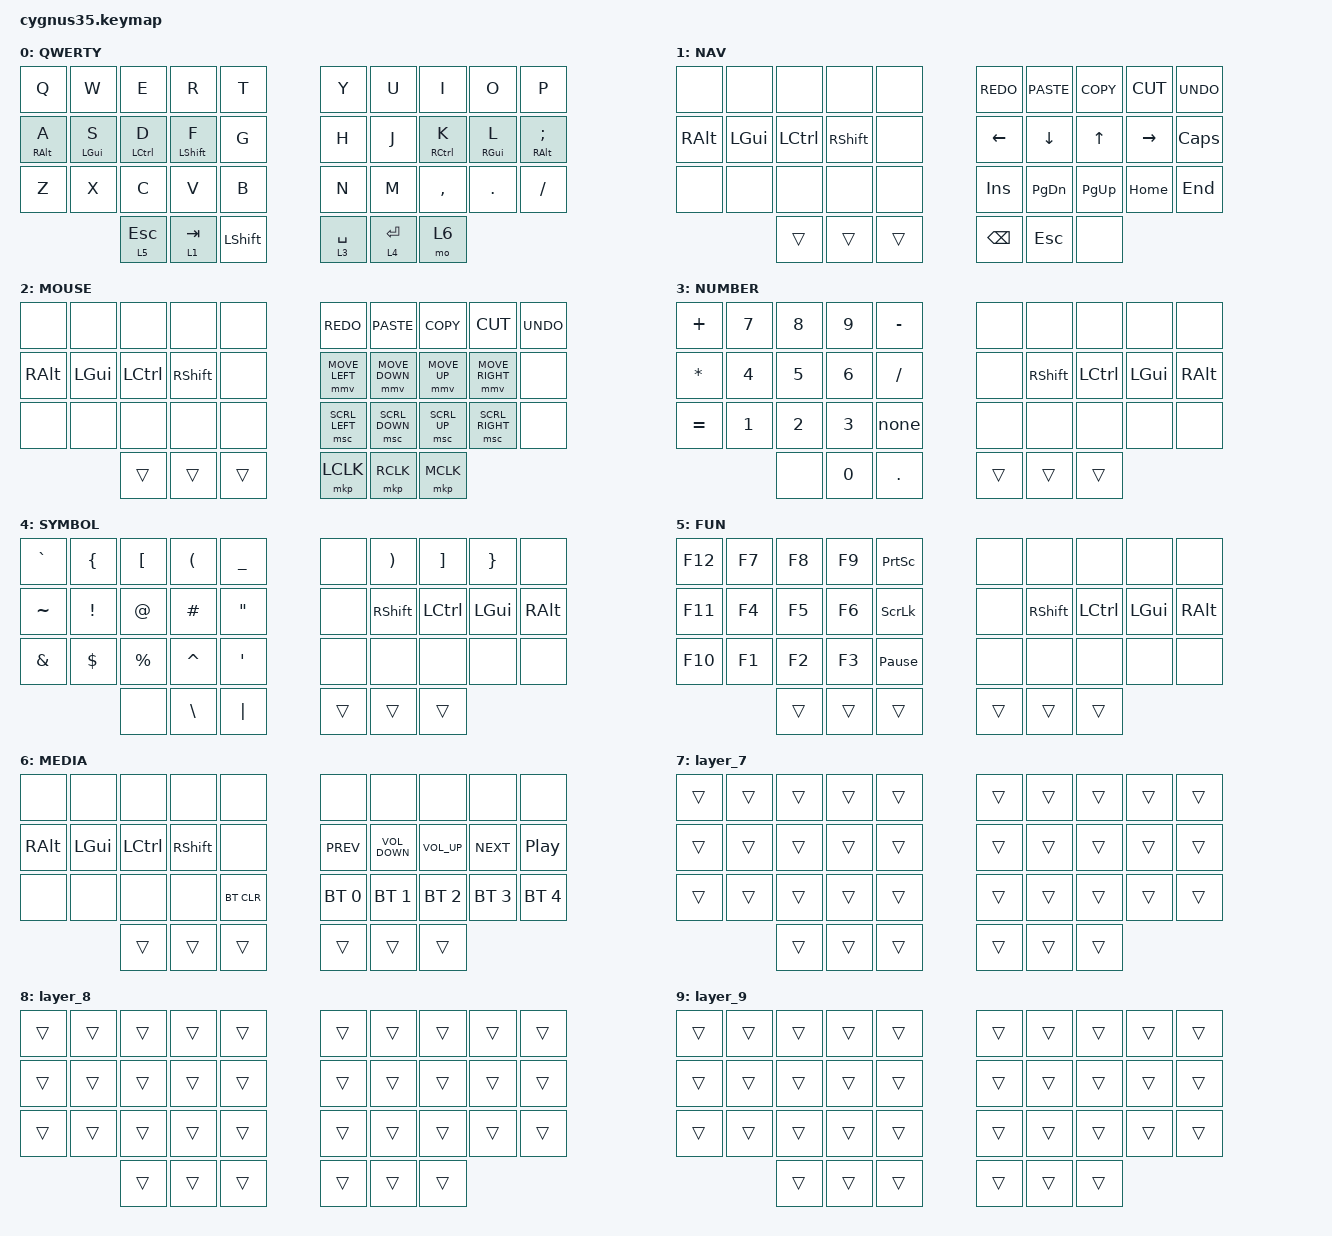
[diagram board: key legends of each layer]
#define ZMK_POINTING_DEFAULT_MOVE_VAL 1200  // 600
#define ZMK_POINTING_DEFAULT_SCRL_VAL 10    // 10

#include <behaviors.dtsi>
#include <dt-bindings/zmk/keys.h>
#include <dt-bindings/zmk/bt.h>
#include <dt-bindings/zmk/ext_power.h>
#include <dt-bindings/zmk/outputs.h>
#include <dt-bindings/zmk/pointing.h>
#include <dt-bindings/zmk/rgb.h>
#include <input/processors.dtsi>
#include <zephyr/dt-bindings/input/input-event-codes.h>

/* 
 * 鼠标输入处理器配置 
 * 直接复用了 Config 1 的优秀参数
 */
&mmv_input_listener { input-processors = <&zip_xy_scaler 2 1>; };
&msc_input_listener { input-processors = <&zip_scroll_scaler 2 1>; };

&msc {
    x-input-code = <INPUT_REL_HWHEEL>;
    y-input-code = <INPUT_REL_WHEEL>;
    time-to-max-speed-ms = <300>;
    acceleration-exponent = <0>;
};

&mmv {
    time-to-max-speed-ms = <500>;
    acceleration-exponent = <1>;
    trigger-period-ms = <16>;
};

/ {
    behaviors {
        td0: td0 {
            compatible = "zmk,behavior-tap-dance";
            display-name = "Shift/Caps Lock Tap Dance";
            #binding-cells = <0>;
            bindings = <&kp RSHFT>, <&kp CAPS>;
        };

        lt: layer_tap {
            compatible = "zmk,behavior-hold-tap";
            #binding-cells = <2>;
            flavor = "hold-preferred"; /* 根据 Config 1 保留，小键盘如果误触多可改为 balanced */
            tapping-term-ms = <200>;
            quick-tap-ms = <175>;
            bindings = <&mo>, <&kp>;
            display-name = "Layer-Tap";
            hold-while-undecided;
        };

        /* 
         * Home Row Mods 配置
         * 已重新计算 hold-trigger-key-positions 以适应 36 键布局 (Corne/Ferris等)
         * 假设布局索引: 
         * 0-9 (Top), 10-19 (Mid), 20-29 (Bot), 30-35 (Thumbs)
         */
        hml: home_row_mod_left {
            compatible = "zmk,behavior-hold-tap";
            #binding-cells = <2>;
            flavor = "balanced";
            require-prior-idle-ms = <150>;
            tapping-term-ms = <280>;
            quick-tap-ms = <175>;
            bindings = <&kp>, <&kp>;
            /* 触发键：右手区域的键位 */
            hold-trigger-key-positions = <5 6 7 8 9 15 16 17 18 19 25 26 27 28 29 33 34 35>; 
            hold-trigger-on-release;
        };

        hmr: home_row_mod_right {
            compatible = "zmk,behavior-hold-tap";
            #binding-cells = <2>;
            flavor = "balanced";
            require-prior-idle-ms = <150>;
            tapping-term-ms = <280>;
            quick-tap-ms = <175>;
            bindings = <&kp>, <&kp>;
            /* 触发键：左手区域的键位 */
            hold-trigger-key-positions = <0 1 2 3 4 10 11 12 13 14 20 21 22 23 24 30 31 32>;
            hold-trigger-on-release;
        };
    };

    combos {
        compatible = "zmk,combos";
        /* 
         * 调整了 Key Positions 以适应 36 键布局 
         * 假设 16=J, 17=K (右手中间两个键)
         */
        combo_esc {
            timeout-ms = <40>;
            key-positions = <16 17>; 
            bindings = <&kp ESC>;
            require-prior-idle-ms = <150>;
        };
        /* 
         * 假设 2=W, 3=E (左手上排) 或者 12=S, 13=D
         * 这里设置为左手 S+D (12 13) 触发 Tab (可选)
         */
        combo_tab {
            timeout-ms = <40>;
            key-positions = <12 13>;
            bindings = <&kp TAB>;
            require-prior-idle-ms = <150>;
        };
    };

    keymap {
        compatible = "zmk,keymap";

        /* 
         * Layer 0: Default
         * 整合了 Home Row Mods 和 Config 1 的拇指逻辑
         */
        default_layer {
            display-name = "QWERTY";
            bindings = <
&kp Q        &kp W        &kp E        &kp R         &kp T           &kp Y        &kp U         &kp I         &kp O        &kp P
&hml RALT A  &hml LGUI S  &hml LCTRL D &hml LSHIFT F &kp G           &kp H        &kp J &hmr RCTRL K  &hmr RGUI L  &hmr RALT SEMI
&kp Z        &kp X        &kp C        &kp V         &kp B           &kp N        &kp M         &kp COMMA     &kp DOT      &kp FSLH
                          &lt 5 ESC    &lt 1 TAB     &kp LSHIFT      &lt 3 SPACE  &lt 4 ENTER   &mo 6
            >;
        };

        /* Layer 1: Nav (Vim style + Config 1 logic) */
        nav_layer {
            display-name = "NAV";
            bindings = <
&none     &none     &none      &none      &none          &kp K_REDO  &kp K_PASTE &kp K_COPY &kp K_CUT &kp K_UNDO
&kp RALT  &kp LGUI  &kp LCTRL  &kp RSHFT  &none          &kp LEFT    &kp DOWN    &kp UP     &kp RIGHT &kp CAPS
&none     &none     &none      &none      &none          &kp INS     &kp PG_DN   &kp PG_UP  &kp HOME  &kp END
                    &trans     &trans     &trans         &kp BSPC          &kp ESC         &none
            >;
        };

        /* Layer 2: Mouse (Mapped to typical movement keys) */
        mouse_layer {
            display-name = "MOUSE";
            bindings = <
&none     &none     &none      &none      &none          &kp K_REDO      &kp K_PASTE      &kp K_COPY    &kp K_CUT       &kp K_UNDO
&kp RALT  &kp LGUI  &kp LCTRL  &kp RSHFT  &none          &mmv MOVE_LEFT  &mmv MOVE_DOWN   &mmv MOVE_UP  &mmv MOVE_RIGHT &none
&none     &none     &none      &none      &none          &msc SCRL_LEFT  &msc SCRL_DOWN   &msc SCRL_UP  &msc SCRL_RIGHT &none
                    &trans     &trans     &trans         &mkp LCLK       &mkp RCLK        &mkp MCLK
            >;
        };

        /* Layer 3: Number */
        number_layer {
            display-name = "NUMBER";
            bindings = <
&kp PLUS   &kp N7  &kp N8  &kp N9  &kp MINUS       &none  &none      &none      &none     &none
&kp ASTRK  &kp N4  &kp N5  &kp N6  &kp FSLH        &none  &kp RSHFT  &kp LCTRL  &kp LGUI  &kp RALT
&kp EQUAL  &kp N1  &kp N2  &kp N3  &kp none         &none  &none      &none      &none     &none
                   &none  &kp N0  &kp DOT          &trans &trans     &trans
            >;
        };

        /* Layer 4: Symbol */
        symbol_layer {
            display-name = "SYMBOL";
            bindings = <
&kp GRAVE  &kp LBRC  &kp LBKT   &kp LPAR   &kp UNDER     &none  &kp RPAR   &kp RBKT   &kp RBRC  &none
&kp TILDE  &kp EXCL  &kp AT     &kp HASH   &kp DQT       &none  &kp RSHFT  &kp LCTRL  &kp LGUI  &kp RALT
&kp AMPS   &kp DLLR  &kp PRCNT  &kp CARET  &kp SQT       &none  &none      &none      &none  &none
                     &none   &kp BSLH  &kp PIPE        &trans &trans     &trans
            >;
        };

        /* Layer 5: Fun (F-Keys) */
        fun_layer {
            display-name = "FUN";
            bindings = <
&kp F12  &kp F7  &kp F8  &kp F9  &kp PRINTSCREEN    &none  &none      &none      &none     &none
&kp F11  &kp F4  &kp F5  &kp F6  &kp SCROLLLOCK     &none  &kp RSHFT  &kp LCTRL  &kp LGUI  &kp RALT
&kp F10  &kp F1  &kp F2  &kp F3  &kp PAUSE_BREAK    &none  &none      &none      &none     &none
                 &trans  &trans  &trans             &trans &trans     &trans
            >;
        };

        /* Layer 6: Media */
        media_layer {
            display-name = "MEDIA";
            bindings = <
&none     &none     &none      &none      &none          &none         &none              &none            &none       &none
&kp RALT  &kp LGUI  &kp LCTRL  &kp RSHFT  &none          &kp C_PREV    &kp C_VOLUME_DOWN  &kp C_VOLUME_UP  &kp C_NEXT  &kp C_PLAY_PAUSE
&none     &none     &none      &none      &bt BT_CLR     &bt BT_SEL 0  &bt BT_SEL 1       &bt BT_SEL 2     &bt BT_SEL 3 &bt BT_SEL 4
                    &trans     &trans     &trans         &trans        &trans             &trans
            >;
        };

        /* Layer 7-9: Empty/Placeholder (保留以防你需要更多层) */
        layer_7 {
            bindings = <
&trans &trans &trans &trans &trans   &trans &trans &trans &trans &trans
&trans &trans &trans &trans &trans   &trans &trans &trans &trans &trans
&trans &trans &trans &trans &trans   &trans &trans &trans &trans &trans
              &trans &trans &trans   &trans &trans &trans
            >;
        };

        layer_8 {
            bindings = <
&trans &trans &trans &trans &trans   &trans &trans &trans &trans &trans
&trans &trans &trans &trans &trans   &trans &trans &trans &trans &trans
&trans &trans &trans &trans &trans   &trans &trans &trans &trans &trans
              &trans &trans &trans   &trans &trans &trans
            >;
        };

        layer_9 {
            bindings = <
&trans &trans &trans &trans &trans   &trans &trans &trans &trans &trans
&trans &trans &trans &trans &trans   &trans &trans &trans &trans &trans
&trans &trans &trans &trans &trans   &trans &trans &trans &trans &trans
              &trans &trans &trans   &trans &trans &trans
            >;
        };
    };
};
